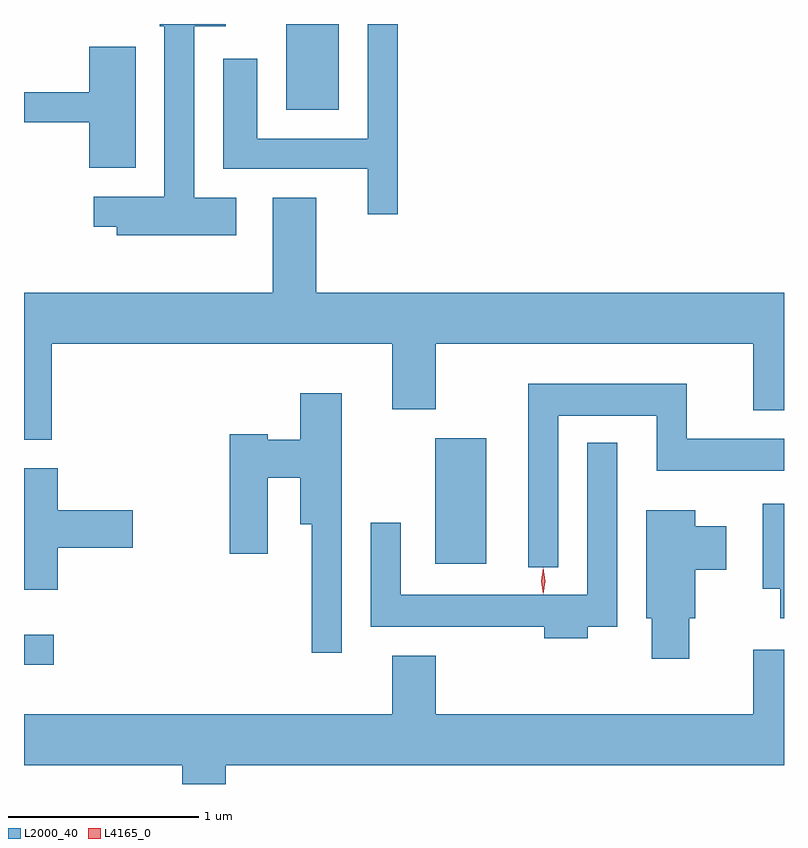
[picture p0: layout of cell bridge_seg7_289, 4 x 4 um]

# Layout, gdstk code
import gdstk
lib = gdstk.Library(unit=1e-6, precision=1e-09)
def R(c, l, rs):  # rectangles x0, y0, x1, y1
    for r in rs: c.add(gdstk.rectangle(r[:2], r[2:], *l))
def P(c, l, *ps):  # polygons
    for p in ps: c.add(gdstk.Polygon(p, *l))
L2000_40 = (2000, 40)
L4165_0 = (4165, 0)

bridge_seg7_289 = lib.new_cell('bridge_seg7_289')
R(bridge_seg7_289, L2000_40, [(1278.332,1801.426,1278.488,1801.584), (1280.496,1801.956,1280.764,1802.619), (1279.711,1804.346,1279.989,1804.798)])
P(bridge_seg7_289, L2000_40, [(1280.299,1804.798),(1280.141,1804.798),(1280.141,1804.194),(1279.559,1804.194),(1279.559,1804.614),(1279.381,1804.614),(1279.381,1804.036),(1280.141,1804.036),(1280.141,1803.798),(1280.299,1803.798)],
  [(1279.449,1803.884),(1279.229,1803.884),(1279.229,1804.786),(1279.394,1804.786),(1279.394,1804.798),(1279.046,1804.798),(1279.046,1804.786),(1279.071,1804.786),(1279.071,1803.889),(1278.698,1803.889),(1278.698,1803.731),(1278.821,1803.731),(1278.821,1803.686),(1279.449,1803.686)],
  [(1278.919,1804.679),(1278.676,1804.679),(1278.676,1804.439),(1278.332,1804.439),(1278.332,1804.281),(1278.676,1804.281),(1278.676,1804.041),(1278.919,1804.041)],
  [(1278.479,1803.116),(1280.271,1803.116),(1280.271,1802.771),(1280.499,1802.771),(1280.499,1803.116),(1282.171,1803.116),(1282.171,1802.766),(1282.332,1802.766),(1282.332,1803.384),(1279.869,1803.384),(1279.869,1803.884),(1279.641,1803.884),(1279.641,1803.384),(1278.332,1803.384),(1278.332,1802.611),(1278.479,1802.611)],
  [(1281.144,1802.736),(1281.661,1802.736),(1281.661,1802.446),(1282.332,1802.446),(1282.332,1802.614),(1281.819,1802.614),(1281.819,1802.904),(1280.986,1802.904),(1280.986,1801.938),(1281.144,1801.938)],
  [(1280.004,1802.854),(1279.786,1802.854),(1279.786,1802.609),(1279.614,1802.609),(1279.614,1802.639),(1279.416,1802.639),(1279.416,1802.011),(1279.614,1802.011),(1279.614,1802.411),(1279.786,1802.411),(1279.786,1802.166),(1279.846,1802.166),(1279.846,1801.488),(1280.004,1801.488)],
  [(1281.299,1801.626),(1281.454,1801.626),(1281.454,1802.593),(1281.296,1802.593),(1281.296,1801.794),(1280.314,1801.794),(1280.314,1802.173),(1280.156,1802.173),(1280.156,1801.626),(1281.071,1801.626),(1281.071,1801.566),(1281.299,1801.566)],
  [(1278.509,1802.041),(1278.904,1802.041),(1278.904,1802.239),(1278.509,1802.239),(1278.509,1802.459),(1278.332,1802.459),(1278.332,1801.821),(1278.509,1801.821)],
  [(1282.332,1802.274),(1282.221,1802.274),(1282.221,1801.826),(1282.311,1801.826),(1282.311,1801.671),(1282.332,1801.671)],
  [(1281.834,1801.671),(1281.864,1801.671),(1281.864,1801.926),(1282.029,1801.926),(1282.029,1802.154),(1281.864,1802.154),(1281.864,1802.239),(1281.606,1802.239),(1281.606,1801.671),(1281.636,1801.671),(1281.636,1801.456),(1281.834,1801.456)],
  [(1279.394,1800.896),(1282.332,1800.896),(1282.332,1801.504),(1282.171,1801.504),(1282.171,1801.164),(1280.499,1801.164),(1280.499,1801.474),(1280.271,1801.474),(1280.271,1801.164),(1278.332,1801.164),(1278.332,1800.896),(1279.166,1800.896),(1279.166,1800.798),(1279.394,1800.798)])
P(bridge_seg7_289, L4165_0, [(1281.065,1801.799),(1281.064,1801.8),(1281.055,1801.866),(1281.064,1801.932),(1281.065,1801.933),(1281.065,1801.932),(1281.075,1801.866),(1281.065,1801.8)],
  [(1281.064,1801.797),(1281.055,1801.866),(1281.064,1801.936),(1281.065,1801.936),(1281.065,1801.936),(1281.075,1801.866),(1281.065,1801.797),(1281.065,1801.797)])

lib.write_gds('bridge_seg7_289.gds')
